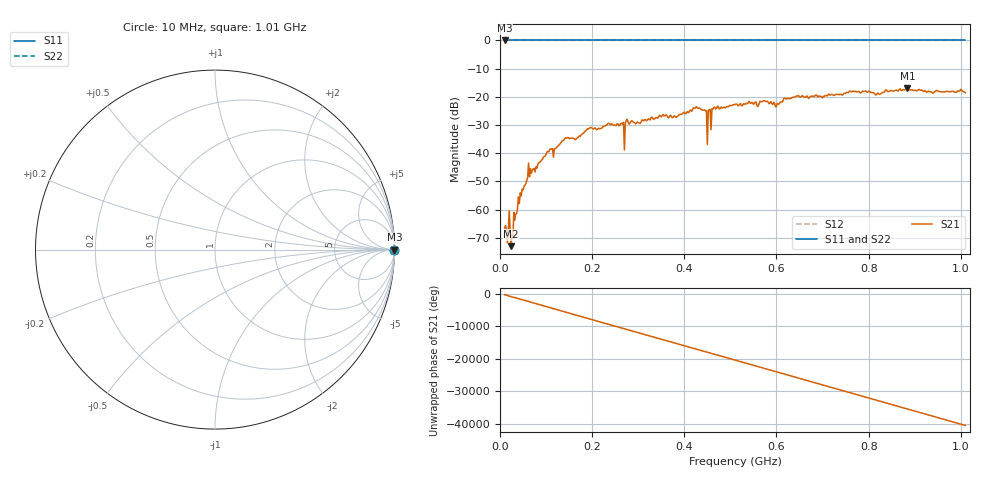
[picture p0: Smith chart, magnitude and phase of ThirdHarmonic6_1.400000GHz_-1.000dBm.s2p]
! 8/16/2025 4:00:16 PM
! C:\ANRITSUVNA\TEMP\TEMP.S2P
! CHANNEL.1
! TR.MEASUREMENT
! RAW.DATA
! RF.CORRECTION.OFF
! AVERAGING.OFF
! IF.BANDWIDTH: 5KHZ
! SWEEPTYPE:  FREQ.SWEEP(Linear)
! Reference Plane Port Info
! PORT:  PORT1  PORT2
! DISTANCE:  0  m  0  m
! TIME:  0  s  0  s
! PHASE.OFFSET:  0  deg.  0  deg.
! LOSS:  0  dB  0  dB
! REF.LOSS:  0  dB  0  dB
! REF.FREQ:  0  Hz  0  Hz
! Power Info
! POWER:  -20  dBm  -20  dBm
! EFF.POWER:  -20  dBm  -20  dBm
! SOURCE.ATTEN:  0  dB  0  dB
! TEST.ATTEN:  0  dB  0  dB
# GHZ S RI R 50.0
! FREQ.GHZ  S11RE  S11IM  S21RE  S21IM  S12RE  S12IM  S22RE  S22IM
!; PortSelection: Port_12
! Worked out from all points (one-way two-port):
!   501 points, 10 MHz to 1.01 GHz, reference 50 ohm
!   highest |S21| = -17.01 dB at 884 MHz (marker M1); lowest = -73.0 dB at 24 MHz (marker M2)
!   lowest |S11| = 0.0 dB at 10 MHz (marker M3)
!   |S11| at or under -10 dB: nowhere
!   |S22| runs from 0.0 to 0.0 dB; largest |S21 - S12| = 1.1
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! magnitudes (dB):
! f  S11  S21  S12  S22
! 10 MHz  0.0  -66.5  0.0  0.0
! 24 MHz  0.0  -73.0  0.0  0.0
! 28 MHz  0.0  -70.3  0.0  0.0
! 44 MHz  0.0  -54.1  0.0  0.0
! 66 MHz  0.0  -45.5  0.0  0.0
! 138 MHz  0.0  -35.4  0.0  0.0
! 178 MHz  0.0  -33.3  0.0  0.0
! 194 MHz  0.0  -31.1  0.0  0.0
! 268 MHz  0.0  -29.1  0.0  0.0
! 344 MHz  0.0  -27.1  0.0  0.0
! 428 MHz  0.0  -23.8  0.0  0.0
! 444 MHz  0.0  -24.6  0.0  0.0
! 446 MHz  0.0  -25.0  0.0  0.0
! 454 MHz  0.0  -24.8  0.0  0.0
! 456 MHz  0.0  -24.5  0.0  0.0
! 464 MHz  0.0  -23.8  0.0  0.0
! 510 MHz  0.0  -22.8  0.0  0.0
! 602 MHz  0.0  -22.3  0.0  0.0
! 678 MHz  0.0  -19.8  0.0  0.0
! 844 MHz  0.0  -18.0  0.0  0.0
! 884 MHz  0.0  -17.0  0.0  0.0
! 1.01 GHz  0.0  -18.6  0.0  0.0
